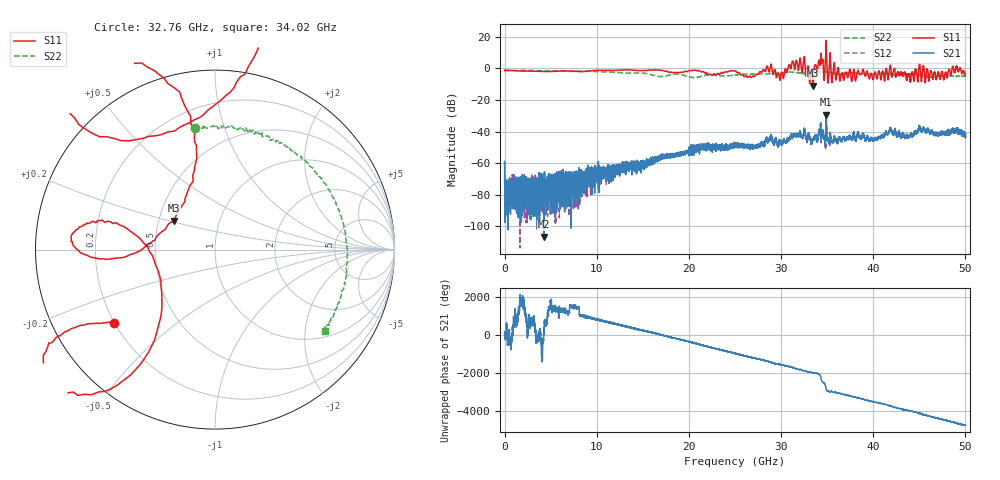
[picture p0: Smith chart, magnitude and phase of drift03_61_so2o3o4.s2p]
!Created with skrf (http://scikit-rf.org).
# Hz S RI R 50.0
!freq ReS11 ImS11 ReS21 ImS21 ReS12 ImS12 ReS22 ImS22
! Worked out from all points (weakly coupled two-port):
!   10001 points, 300 kHz to 50 GHz, reference 50 ohm
!   highest |S21| = -29.45 dB at 34.89 GHz (marker M1); lowest = -106.4 dB at 4.25 GHz (marker M2)
!   lowest |S11| = -11.0 dB at 33.47 GHz (marker M3), VSWR 1.78, Z = 29.9 + j10.4 ohm
!   |S11| at or under -10 dB: 33.44897 GHz to 33.48511 GHz (36.14 MHz wide, 0.108 % of centre)
!   |S22| runs from -5.9 to -1.3 dB; largest |S21 - S12| = 0.0076
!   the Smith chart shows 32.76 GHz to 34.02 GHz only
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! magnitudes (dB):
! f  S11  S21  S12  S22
! 300 kHz  -1.3  -58.9  -67.1  -2.1
! 340.3 MHz  -1.4  -81.1  -77.7  -1.4
! 4.25 GHz  -2.0  -106.4  -84.8  -1.6
! 8.335 GHz  -2.2  -71.4  -64.2  -1.9
! 16.67 GHz  -1.1  -56.3  -57.8  -5.2
! 25 GHz  -1.5  -48.6  -49.0  -4.4
! 26.92 GHz  -4.9  -51.0  -49.0  -3.5
! 28.73 GHz  -2.2  -44.8  -46.2  -3.5
! 30.06 GHz  -2.5  -47.7  -48.2  -2.8
! 31.87 GHz  -1.4  -42.0  -41.7  -2.9
! 33.34 GHz  -2.2  -47.6  -46.9  -2.9
! 33.47 GHz  -11.0  -44.8  -45.3  -2.8
! 34.29 GHz  6.1  -35.2  -35.4  -2.3
! 34.89 GHz  17.6  -29.4  -31.5  -2.4
! 36.58 GHz  -3.4  -45.5  -46.1  -3.6
! 40.17 GHz  -2.5  -44.9  -44.0  -3.7
! 41.67 GHz  -5.5  -40.2  -40.4  -3.7
! 43.84 GHz  -3.8  -43.3  -43.8  -3.8
! 45.22 GHz  -8.2  -39.2  -39.5  -4.5
! 47.06 GHz  -2.6  -42.4  -41.4  -5.0
! 49.21 GHz  -2.1  -40.2  -40.1  -5.1
! 50 GHz  -4.8  -43.8  -42.8  -4.9
